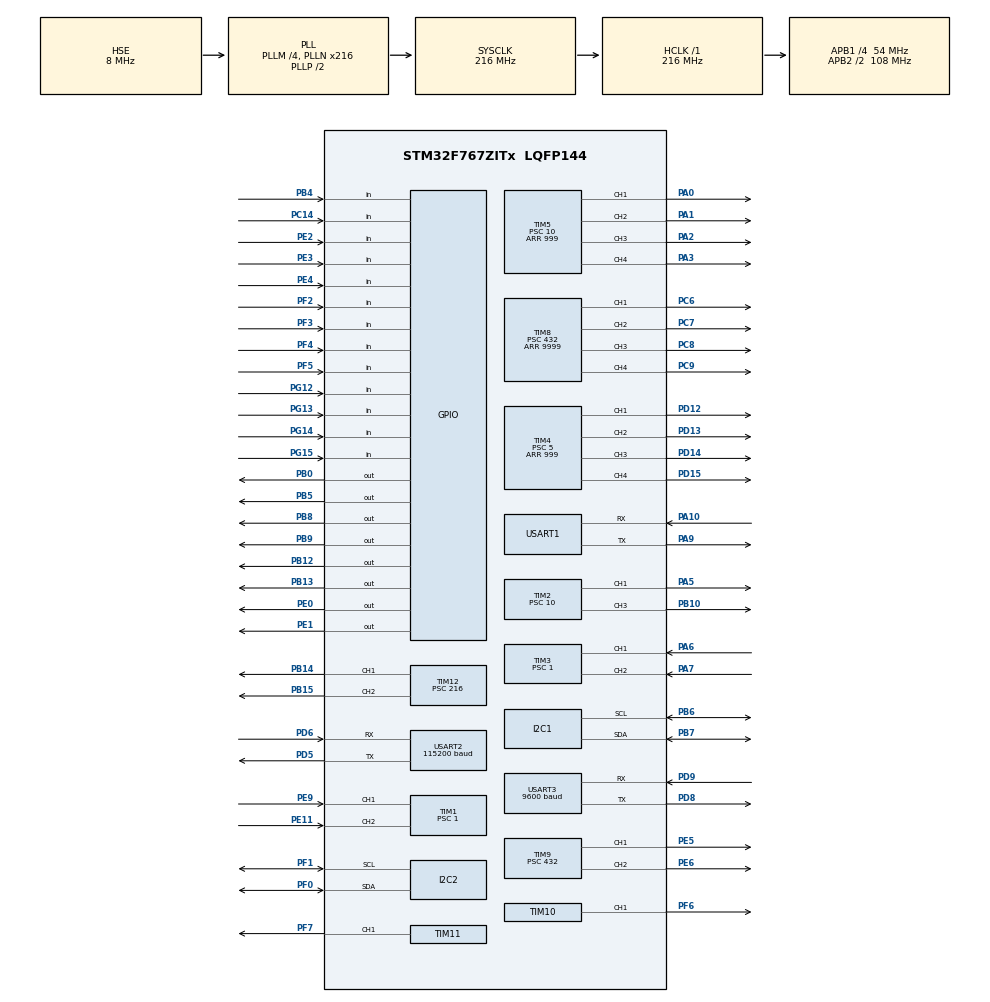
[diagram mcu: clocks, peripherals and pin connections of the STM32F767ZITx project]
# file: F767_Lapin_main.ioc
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CORTEX_M7.ART_ACCLERATOR_ENABLE=1
CORTEX_M7.CPU_DCache=Enabled
CORTEX_M7.CPU_ICache=Enabled
CORTEX_M7.FlashInterface=TCM_Enabled
CORTEX_M7.PREFETCH_ENABLE=1
Dma.Request0=USART1_RX
Dma.USART1_RX.0.Direction=DMA_PERIPH_TO_MEMORY
Dma.USART1_RX.0.FIFOMode=DMA_FIFOMODE_DISABLE
Dma.USART1_RX.0.Instance=DMA2_Stream2
Dma.USART1_RX.0.MemDataAlignment=DMA_MDATAALIGN_BYTE
Dma.USART1_RX.0.MemInc=DMA_MINC_ENABLE
Dma.USART1_RX.0.Mode=DMA_CIRCULAR
Dma.USART1_RX.0.PeriphDataAlignment=DMA_PDATAALIGN_BYTE
Dma.USART1_RX.0.PeriphInc=DMA_PINC_DISABLE
Dma.USART1_RX.0.Priority=DMA_PRIORITY_MEDIUM
I2C1.I2C_Fall_Time=300
I2C1.I2C_Rise_Time=1000
I2C1.Timing=0x40D32A31
I2C2.I2C_Fall_Time=300
I2C2.I2C_Rise_Time=1000
I2C2.Timing=0x40D32A31
IWDG.Prescaler=IWDG_PRESCALER_64
Mcu.Family=STM32F7
Mcu.Name=STM32F767ZITx
Mcu.Package=LQFP144
NVIC.DMA2_Stream2_IRQn=true\:1\:0\:true\:false\:true\:true
NVIC.PriorityGroup=NVIC_PRIORITYGROUP_4
NVIC.TIM6_DAC_IRQn=true\:2\:0\:true\:false\:true\:true
NVIC.USART1_IRQn=true\:3\:0\:true\:false\:true\:true
PA0/WKUP.Signal=S_TIM5_CH1
PA1.Signal=S_TIM5_CH2
PA10.Mode=Asynchronous
PA10.Signal=USART1_RX
PA13.Mode=Serial_Wire
PA13.Signal=SYS_JTMS-SWDIO
PA14.Mode=Serial_Wire
PA14.Signal=SYS_JTCK-SWCLK
PA2.Signal=S_TIM5_CH3
PA3.Signal=S_TIM5_CH4
PA5.Signal=S_TIM2_CH1_ETR
PA6.Signal=S_TIM3_CH1
PA7.Signal=S_TIM3_CH2
PA9.Mode=Asynchronous
PA9.Signal=USART1_TX
PB0.Signal=GPIO_Output
PB10.Signal=S_TIM2_CH3
PB12.Signal=GPIO_Output
PB13.Signal=GPIO_Output
PB14.Signal=S_TIM12_CH1
PB15.Signal=S_TIM12_CH2
PB4.Signal=GPIO_Input
PB5.Signal=GPIO_Output
PB6.Mode=I2C
PB6.Signal=I2C1_SCL
PB7.Mode=I2C
PB7.Signal=I2C1_SDA
PB8.Signal=GPIO_Output
PB9.Signal=GPIO_Output
PC14/OSC32_IN.Signal=GPIO_Input
PC6.Signal=S_TIM8_CH1
PC7.Signal=S_TIM8_CH2
PC8.Signal=S_TIM8_CH3
PC9.Signal=S_TIM8_CH4
PD12.Signal=S_TIM4_CH1
PD13.Signal=S_TIM4_CH2
PD14.Signal=S_TIM4_CH3
PD15.Signal=S_TIM4_CH4
PD5.Mode=Asynchronous
PD5.Signal=USART2_TX
PD6.Mode=Asynchronous
PD6.Signal=USART2_RX
PD8.Mode=Asynchronous
PD8.Signal=USART3_TX
PD9.Mode=Asynchronous
PD9.Signal=USART3_RX
PE0.Signal=GPIO_Output
PE1.Signal=GPIO_Output
PE11.Signal=S_TIM1_CH2
PE2.Signal=GPIO_Input
PE3.Signal=GPIO_Input
PE4.Signal=GPIO_Input
PE5.Signal=S_TIM9_CH1
PE6.Signal=S_TIM9_CH2
PE9.Signal=S_TIM1_CH1
PF0.Mode=I2C
PF0.Signal=I2C2_SDA
PF1.Mode=I2C
PF1.Signal=I2C2_SCL
PF2.Signal=GPIO_Input
PF3.Signal=GPIO_Input
PF4.Signal=GPIO_Input
PF5.Signal=GPIO_Input
PF6.Signal=S_TIM10_CH1
PF7.Signal=S_TIM11_CH1
PG12.Signal=GPIO_Input
PG13.Signal=GPIO_Input
PG14.Signal=GPIO_Input
PG15.Signal=GPIO_Input
PH0/OSC_IN.Mode=HSE-External-Oscillator
PH0/OSC_IN.Signal=RCC_OSC_IN
PH1/OSC_OUT.Mode=HSE-External-Oscillator
PH1/OSC_OUT.Signal=RCC_OSC_OUT
ProjectManager.HeapSize=0x400
ProjectManager.StackSize=0x800
ProjectManager.TargetToolchain=TrueSTUDIO
RCC.AHBFreq_Value=216000000
RCC.APB1CLKDivider=RCC_HCLK_DIV4
RCC.APB1Freq_Value=54000000
RCC.APB1TimFreq_Value=108000000
RCC.APB2CLKDivider=RCC_HCLK_DIV2
RCC.APB2Freq_Value=108000000
RCC.APB2TimFreq_Value=216000000
RCC.CortexFreq_Value=216000000
RCC.HCLKFreq_Value=216000000
RCC.HSE_VALUE=8000000
RCC.HSI_VALUE=16000000
RCC.LSE_VALUE=32768
RCC.PLLM=4
RCC.PLLN=216
RCC.PLLSourceVirtual=RCC_PLLSOURCE_HSE
RCC.SYSCLKFreq_VALUE=216000000
RCC.SYSCLKSource=RCC_SYSCLKSOURCE_PLLCLK
RCC.USBFreq_Value=216000000
RCC.VCOOutputFreq_Value=432000000
SH.S_TIM10_CH1.0=TIM10_CH1,PWM Generation1 CH1
SH.S_TIM11_CH1.0=TIM11_CH1,PWM Generation1 CH1
SH.S_TIM12_CH1.0=TIM12_CH1,PWM Generation1 CH1
SH.S_TIM12_CH2.0=TIM12_CH2,PWM Generation2 CH2
SH.S_TIM1_CH1.0=TIM1_CH1,Encoder_Interface
SH.S_TIM1_CH2.0=TIM1_CH2,Encoder_Interface
SH.S_TIM2_CH1_ETR.0=TIM2_CH1,PWM Generation1 CH1
SH.S_TIM2_CH3.0=TIM2_CH3,PWM Generation3 CH3
SH.S_TIM3_CH1.0=TIM3_CH1,Encoder_Interface
SH.S_TIM3_CH2.0=TIM3_CH2,Encoder_Interface
SH.S_TIM4_CH1.0=TIM4_CH1,PWM Generation1 CH1
SH.S_TIM4_CH2.0=TIM4_CH2,PWM Generation2 CH2
SH.S_TIM4_CH3.0=TIM4_CH3,PWM Generation3 CH3
SH.S_TIM4_CH4.0=TIM4_CH4,PWM Generation4 CH4
SH.S_TIM5_CH1.0=TIM5_CH1,PWM Generation1 CH1
SH.S_TIM5_CH2.0=TIM5_CH2,PWM Generation2 CH2
SH.S_TIM5_CH3.0=TIM5_CH3,PWM Generation3 CH3
SH.S_TIM5_CH4.0=TIM5_CH4,PWM Generation4 CH4
SH.S_TIM8_CH1.0=TIM8_CH1,PWM Generation1 CH1
SH.S_TIM8_CH2.0=TIM8_CH2,PWM Generation2 CH2
SH.S_TIM8_CH3.0=TIM8_CH3,PWM Generation3 CH3
SH.S_TIM8_CH4.0=TIM8_CH4,PWM Generation4 CH4
SH.S_TIM9_CH1.0=TIM9_CH1,PWM Generation1 CH1
SH.S_TIM9_CH2.0=TIM9_CH2,PWM Generation2 CH2
TIM1.Period=60000
TIM1.Prescaler=1
TIM10.Channel=TIM_CHANNEL_1
TIM10.Period=9999
TIM10.Prescaler=432
TIM11.Channel=TIM_CHANNEL_1
TIM11.Period=9999
TIM11.Prescaler=432
TIM12.Channel-PWM\ Generation1\ CH1=TIM_CHANNEL_1
TIM12.Channel-PWM\ Generation2\ CH2=TIM_CHANNEL_2
TIM12.Period=9999
TIM12.Prescaler=216
TIM2.Channel-PWM\ Generation1\ CH1=TIM_CHANNEL_1
TIM2.Channel-PWM\ Generation3\ CH3=TIM_CHANNEL_3
TIM2.Period=999
TIM2.Prescaler=10
TIM3.IC1Filter=2
TIM3.IC1Polarity=TIM_ICPOLARITY_FALLING
TIM3.IC2Filter=2
TIM3.IC2Polarity=TIM_ICPOLARITY_FALLING
TIM3.Period=60000
TIM3.Prescaler=1
TIM4.Channel-PWM\ Generation1\ CH1=TIM_CHANNEL_1
TIM4.Channel-PWM\ Generation2\ CH2=TIM_CHANNEL_2
TIM4.Channel-PWM\ Generation3\ CH3=TIM_CHANNEL_3
TIM4.Channel-PWM\ Generation4\ CH4=TIM_CHANNEL_4
TIM4.Period=999
TIM4.Prescaler=5
TIM5.Channel-PWM\ Generation1\ CH1=TIM_CHANNEL_1
TIM5.Channel-PWM\ Generation2\ CH2=TIM_CHANNEL_2
TIM5.Channel-PWM\ Generation3\ CH3=TIM_CHANNEL_3
TIM5.Channel-PWM\ Generation4\ CH4=TIM_CHANNEL_4
TIM5.Period=999
TIM5.Prescaler=10
TIM6.Period=50000-1
TIM6.Prescaler=864
TIM8.Channel-PWM\ Generation1\ CH1=TIM_CHANNEL_1
TIM8.Channel-PWM\ Generation2\ CH2=TIM_CHANNEL_2
TIM8.Channel-PWM\ Generation3\ CH3=TIM_CHANNEL_3
TIM8.Channel-PWM\ Generation4\ CH4=TIM_CHANNEL_4
TIM8.Period=9999
TIM8.Prescaler=432
TIM9.Channel-PWM\ Generation1\ CH1=TIM_CHANNEL_1
TIM9.Channel-PWM\ Generation2\ CH2=TIM_CHANNEL_2
TIM9.Period=9999
TIM9.Prescaler=432
USART1.VirtualMode-Asynchronous=VM_ASYNC
USART1.WordLength=WORDLENGTH_8B
USART2.BaudRate=115200
USART2.VirtualMode-Asynchronous=VM_ASYNC
USART2.WordLength=WORDLENGTH_8B
USART3.BaudRate=9600
USART3.VirtualMode-Asynchronous=VM_ASYNC
USART3.WordLength=WORDLENGTH_8B
VP_IWDG_VS_IWDG.Mode=IWDG_Activate
VP_TIM10_VS_ClockSourceINT.Mode=Enable_Timer
VP_TIM11_VS_ClockSourceINT.Mode=Enable_Timer
VP_TIM6_VS_ClockSourceINT.Mode=Enable_Timer
board=F767_Lapin_main

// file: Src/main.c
/**
  ******************************************************************************
  * @file           : main.c
  * @brief          : Main program body
  ******************************************************************************
  ** This notice applies to any and all portions of this file
  * that are not between comment pairs USER CODE BEGIN and
  * USER CODE END. Other portions of this file, whether
  * inserted by the user or by software development tools
  * are owned by their respective copyright owners.
  *
  * COPYRIGHT(c) 2018 STMicroelectronics
  *
  * Redistribution and use in source and binary forms, with or without modification,
  * are permitted provided that the following conditions are met:
  *   1. Redistributions of source code must retain the above copyright notice,
  *      this list of conditions and the following disclaimer.
  *   2. Redistributions in binary form must reproduce the above copyright notice,
  *      this list of conditions and the following disclaimer in the documentation
  *      and/or other materials provided with the distribution.
  *   3. Neither the name of STMicroelectronics nor the names of its contributors
  *      may be used to endorse or promote products derived from this software
  *      without specific prior written permission.
  *
  * THIS SOFTWARE IS PROVIDED BY THE COPYRIGHT HOLDERS AND CONTRIBUTORS "AS IS"
  * AND ANY EXPRESS OR IMPLIED WARRANTIES, INCLUDING, BUT NOT LIMITED TO, THE
  * IMPLIED WARRANTIES OF MERCHANTABILITY AND FITNESS FOR A PARTICULAR PURPOSE ARE
  * DISCLAIMED. IN NO EVENT SHALL THE COPYRIGHT HOLDER OR CONTRIBUTORS BE LIABLE
  * FOR ANY DIRECT, INDIRECT, INCIDENTAL, SPECIAL, EXEMPLARY, OR CONSEQUENTIAL
  * DAMAGES (INCLUDING, BUT NOT LIMITED TO, PROCUREMENT OF SUBSTITUTE GOODS OR
  * SERVICES; LOSS OF USE, DATA, OR PROFITS; OR BUSINESS INTERRUPTION) HOWEVER
  * CAUSED AND ON ANY THEORY OF LIABILITY, WHETHER IN CONTRACT, STRICT LIABILITY,
  * OR TORT (INCLUDING NEGLIGENCE OR OTHERWISE) ARISING IN ANY WAY OUT OF THE USE
  * OF THIS SOFTWARE, EVEN IF ADVISED OF THE POSSIBILITY OF SUCH DAMAGE.
  *
  ******************************************************************************
  */
#include "main.h"
#include "stm32f7xx_hal.h"
#include "dma.h"
#include "i2c.h"
#include "iwdg.h"
#include "tim.h"
#include "usart.h"
#include "gpio.h"

/* USER CODE BEGIN Includes */
#include "management.h"
/* USER CODE END Includes */

/* USER CODE BEGIN PV */
/* Private variables ---------------------------------------------------------*/
#ifdef __GNUC__
#define PUTCHAR_PROTOTYPE int __io_putchar(int ch)
#else
#define PUTCHAR_PROTOTYPE int fputc(int ch, FILE *f)
#endif /* __GNUC__ */
/* USER CODE END PV */

void SystemClock_Config(void);

/* USER CODE BEGIN PFP */
/* Private function prototypes -----------------------------------------------*/
long map(long x, long in_min, long in_max, long out_min, long out_max) ;
void main_run();
void sens_test();
void comu_test();
void test_mode();
void demo_mode();
void calib_mode();
/* USER CODE END PFP */

/* USER CODE BEGIN 0 */
#define Servonumber 4
#define debug 1
uint8_t Flug_Rxdata=0;
uint8_t Rxbuf[Servonumber+11];
uint8_t TPIPConnect=0,Rxdetatemp=0;
uint8_t data[Servonumber+11-1],tempdata[Servonumber+11-1];
uint8_t SW[5];
uint8_t mode;
uint8_t motor[5];
int16_t servodata[Servonumber]={180,67,90,180};
int16_t servotemp[Servonumber]={180,67,90,180};
uint32_t uwDirectionCount1 = 0;
uint32_t uwDirectionCount2 = 0;

void HAL_TIM_PeriodElapsedCallback(TIM_HandleTypeDef *htim)
{
	 if(Rxdetatemp!=data[Servonumber+9] || HAL_GPIO_ReadPin(GPIOB,GPIO_PIN_4)==0){
		 TPIPConnect=1;
		 HAL_GPIO_WritePin(GPIOE,GPIO_PIN_0,1);
	 }
	 else{
		 TPIPConnect=0;
		 HAL_GPIO_TogglePin(GPIOE,GPIO_PIN_0);
	 }
	 Rxdetatemp=data[Servonumber+9];
}

/* USER CODE END 0 */

int main(void)
{

  /* Enable I-Cache-------------------------------------------------------------*/
  SCB_EnableICache();

  /* Enable D-Cache-------------------------------------------------------------*/
  SCB_EnableDCache();

  /* MCU Configuration----------------------------------------------------------*/

  /* Reset of all peripherals, Initializes the Flash interface and the Systick. */
  HAL_Init();

  /* Configure the system clock */
  SystemClock_Config();

  /* Initialize all configured peripherals */
  MX_GPIO_Init();
  MX_DMA_Init();
  MX_TIM3_Init();
  MX_TIM2_Init();
  MX_TIM8_Init();
  MX_TIM9_Init();
  MX_TIM10_Init();
  MX_TIM11_Init();
  MX_TIM12_Init();
  MX_USART1_UART_Init();
  MX_USART2_UART_Init();
  MX_I2C1_Init();
  MX_I2C2_Init();
  MX_TIM6_Init();
  MX_TIM1_Init();
  MX_TIM4_Init();
  MX_TIM5_Init();
  //MX_IWDG_Init();
  MX_USART3_UART_Init();
  /* USER CODE BEGIN 2 */
  xprintf_init(&huart2);
  xdev_out(uart_putc);
  oled_i2c_to_oled(&hi2c1);
  oled_returnhome();
  if(HAL_GPIO_ReadPin(GPIOB,GPIO_PIN_4)==1){
    	 MX_IWDG_Init();
  }
  else{
	  oled_puts("Debug mode");
	  oled_setcursor(1,0);
	  oled_puts("No init of iwdg");
	  beep(10,30,30);
	  HAL_Delay(200);
  }

  oled_clear();
  servo(180,67,90,180,180,90,90,90,90,90);
  motor_move(0,0,0,0);
  HAL_GPIO_WritePin(GPIOB,GPIO_PIN_13,1);
  JY901_init(&hi2c1);
  DFPlayer_init(&huart3);
  oled_returnhome();
  oled_puts("Is The Order a");
  oled_setcursor(1,2);
  oled_puts("Rescue Robot?");
  HAL_Delay(700);
  DFPlayer_setvolume(0x25);
  HAL_Delay(100);
  DFPlayer_playmp3(1);
  HAL_Delay(300);
  HAL_IWDG_Refresh(&hiwdg);
  HAL_Delay(1000);
  HAL_IWDG_Refresh(&hiwdg);
  HAL_Delay(600);
  HAL_IWDG_Refresh(&hiwdg);
  oled_clear();
  HAL_IWDG_Refresh(&hiwdg);
  HAL_TIM_Base_Start_IT(&htim6);
  if (HAL_UART_Receive_DMA(&huart1, (uint8_t *)Rxbuf,(Servonumber + 11)) != HAL_OK)
  {
	  Error_Handler();
  }
  if(HAL_TIM_Encoder_Init(&htim1, &sConfig) != HAL_OK)
  {
	  Error_Handler();
  }
  HAL_TIM_Encoder_Start(&htim1, TIM_CHANNEL_ALL);
  TIM1->CNT=30000;
  Expand_flug=0;
  /* USER CODE END 2 */

  /* Infinite loop */
  while (1)
  {

  /* USER CODE BEGIN 3 */
	  mofu:
	  mode=HAL_GPIO_ReadPin(GPIOG,GPIO_PIN_12)*4+(HAL_GPIO_ReadPin(GPIOG,GPIO_PIN_13)*2)
			  +(HAL_GPIO_ReadPin(GPIOG,GPIO_PIN_14));
	  switch(mode){
	  case 1:
		  if(HAL_GPIO_ReadPin(GPIOG,GPIO_PIN_15)==1){
			  oled_clear();
			  HOUI_def=JY901_def_set();
			  TIM1->CNT=30000;
			    uint32_t timeout=0;
			    while(encordermotor1(0) && timeout<10000000){
			    	timeout++;
			    	delayUs(1);
			    	HAL_IWDG_Refresh(&hiwdg);
			    }
			    sConfigOC.Pulse = 0;
			    HAL_TIM_PWM_ConfigChannel(&htim2, &sConfigOC, TIM_CHANNEL_1);
			    HAL_TIM_PWM_Start(&htim2, TIM_CHANNEL_1);
			    sConfigOC.Pulse = 0;
			    HAL_TIM_PWM_ConfigChannel(&htim2, &sConfigOC, TIM_CHANNEL_3);
			    HAL_TIM_PWM_Start(&htim2, TIM_CHANNEL_3) ;
			    timeout=0;
			  while(TPIPConnect==0){
			  	motor_move(0,0,0,0);
			  	oled_returnhome();
			  	oled_puts("main_run select ");
			  	oled_setcursor(1,0);
			  	oled_puts("waiting for TPIP");
			    /*xprintf(" S1=%d",HAL_GPIO_ReadPin(GPIOD,GPIO_PIN_3));
			    xprintf(" S2=%d",HAL_GPIO_ReadPin(GPIOD,GPIO_PIN_1));
			    xprintf(" S3=%d",HAL_GPIO_ReadPin(GPIOC,GPIO_PIN_12));
			    xprintf(" S4=%d",HAL_GPIO_ReadPin(GPIOC,GPIO_PIN_10));*/
				xprintf(" 0=%d",Rxbuf[0]);
				xprintf(" 1=%d",Rxbuf[1]);
				xprintf(" 2=%d",Rxbuf[2]);
				xprintf(" 3=%d",Rxbuf[3]);
				xprintf(" 4=%d",Rxbuf[4]);
				xprintf(" 5=%d",Rxbuf[5]);
				xprintf(" 6=%d",Rxbuf[6]);
				xprintf(" 7=%d",Rxbuf[7]);
				xprintf(" 8=%d",Rxbuf[8]);
				xprintf(" 9=%d",Rxbuf[9]);
				xprintf(" 10=%d",Rxbuf[10]);
				xprintf(" 11=%d",Rxbuf[11]);
				xprintf(" 12=%d\r\n",Rxbuf[12]);
			  	if(HAL_GPIO_ReadPin(GPIOG,GPIO_PIN_15)==0){goto mofu;}
			  	HAL_GPIO_WritePin(GPIOB,GPIO_PIN_13,1);
			    HAL_IWDG_Refresh(&hiwdg);
			    HAL_GPIO_TogglePin(GPIOB,GPIO_PIN_0);
			  	}
			    DFPlayer_playmp3(9);
			  	beep(3,50,50);
			  	 oled_clear();
			  	while(HAL_GPIO_ReadPin(GPIOG,GPIO_PIN_15)==1){
			  		if(TPIPConnect==1){
			  		HAL_GPIO_WritePin(GPIOB,GPIO_PIN_13,1);
			  		main_run();
			  		if(data[Servonumber+11-2]%11==0){
			  		HAL_GPIO_WritePin(GPIOB,GPIO_PIN_8,1);
			  		}
			  		if(data[Servonumber+11-2]%11==5){
			  		HAL_GPIO_WritePin(GPIOB,GPIO_PIN_8,0);
			  		}
			  	  }
			  	  else{
			  			HAL_GPIO_WritePin(GPIOB,GPIO_PIN_13,0);
			  			motor_move(0,0,0,0);
			  			servo(servotemp[0],servotemp[1],servotemp[2],servotemp[3],servotemp[3],
			  				90,90,90,90,90);
			  			sConfigOC.Pulse = 0;
			  			HAL_TIM_PWM_ConfigChannel(&htim2, &sConfigOC, TIM_CHANNEL_1);
			  			HAL_TIM_PWM_Start(&htim2, TIM_CHANNEL_1);
			  			sConfigOC.Pulse = 0;
			  			HAL_TIM_PWM_ConfigChannel(&htim2, &sConfigOC, TIM_CHANNEL_3);
			  			HAL_TIM_PWM_Start(&htim2, TIM_CHANNEL_3) ;
			  			oled_returnhome();
			  			oled_puts("main_run select");
			  			oled_setcursor(1,0);
			  			oled_puts("lost connection!");
			  			for(int i=0;i<13;i++){
			  				xprintf(" %d)%d",i,Rxbuf[i]);
			  			}
			  			/*
			  			for(int i=0;i<(Servonumber+11);i++){
			  				xprintf(" %d)%d",i,data[i]);
			  			}*/
			  			xprintf("\r\n");
					    DFPlayer_playmp3(12);
	  			  		beep(1,300,300);
		  			    HAL_IWDG_Refresh(&hiwdg);
	  			  		beep(1,300,300);
		  			    HAL_IWDG_Refresh(&hiwdg);
			  	  }
			  	  HAL_IWDG_Refresh(&hiwdg);
			  }
			  	sConfigOC.Pulse = 0;
			  	HAL_TIM_PWM_ConfigChannel(&htim2, &sConfigOC, TIM_CHANNEL_1);
			  	HAL_TIM_PWM_Start(&htim2, TIM_CHANNEL_1);
			  	sConfigOC.Pulse = 0;
			  	HAL_TIM_PWM_ConfigChannel(&htim2, &sConfigOC, TIM_CHANNEL_3);
			  	HAL_TIM_PWM_Start(&htim2, TIM_CHANNEL_3) ;
		  		HAL_GPIO_WritePin(GPIOB,GPIO_PIN_8,0);
	  			motor_move(0,0,0,0);
	  			servo(servotemp[0],servotemp[1],servotemp[2],servotemp[3],servotemp[3],
	  				90,90,90,90,90);
		  }
		  else{
			  oled_returnhome();
			  oled_puts("main_run select");
			  oled_setcursor(1,0);
			  oled_puts("OK?     waiting ");
			  HAL_Delay(5);
			  HAL_IWDG_Refresh(&hiwdg);
		  }
	  break;

	  case 2:
			if(HAL_GPIO_ReadPin(GPIOG,GPIO_PIN_15)==1){
				oled_clear();
				HOUI_def=JY901_def_set();
			    TIM1->CNT=30000;
		  		HAL_GPIO_WritePin(GPIOB,GPIO_PIN_13,0);
				motor_move(0,0,0,0);
				  servo(180,67,90,180,180,90,90,90,90,90);
				while(HAL_GPIO_ReadPin(GPIOG,GPIO_PIN_15)==1){
				oled_returnhome();
				oled_puts("Comu test select");
				oled_setcursor(1,0);
				oled_puts("running         ");

				for(int counttime1=0;counttime1<(Servonumber+11-1);counttime1++){
					xprintf(" data%d)%d",counttime1,data[counttime1]);
				}
				xprintf("\r\n");
				HAL_IWDG_Refresh(&hiwdg);
				HAL_GPIO_TogglePin(GPIOB,GPIO_PIN_0);
				}
			}
			else{
				oled_returnhome();
				oled_puts("Comu test select");
				oled_setcursor(1,0);
				oled_puts("OK?     waiting ");
				HAL_IWDG_Refresh(&hiwdg);
				HAL_Delay(5);
			}
	  break;

	  case 3:
		  if(HAL_GPIO_ReadPin(GPIOG,GPIO_PIN_15)==1){
			  oled_clear();
			  HOUI_def=JY901_def_set();
			    TIM1->CNT=30000;
			    HAL_GPIO_WritePin(GPIOB,GPIO_PIN_13,0);
			  	while(HAL_GPIO_ReadPin(GPIOG,GPIO_PIN_15)==1){
			  	oled_returnhome();
			  	oled_puts("sens_test select");
			  	oled_setcursor(1,0);
			  	oled_puts("Running          ");
				sens_test();
				  HAL_IWDG_Refresh(&hiwdg);
				 HAL_GPIO_TogglePin(GPIOB,GPIO_PIN_0);
				 HAL_GPIO_WritePin(GPIOB,GPIO_PIN_13,0);
			  }
				motor_move(0,0,0,0);
				  servo(180,67,90,180,180,90,90,90,90,90);
		  }
		  else{
				oled_returnhome();
				oled_puts("sens_test select");
				oled_setcursor(1,0);
				oled_puts("OK?     waiting ");
				  HAL_IWDG_Refresh(&hiwdg);
				HAL_Delay(5);
		  }
	  break;

	  case 4:
		  if(HAL_GPIO_ReadPin(GPIOG,GPIO_PIN_15)==1){
			  oled_clear();
			  HOUI_def=JY901_def_set();
			    TIM1->CNT=30000;
			    while(HAL_GPIO_ReadPin(GPIOG,GPIO_PIN_15)==1){
			    	HAL_GPIO_WritePin(GPIOB,GPIO_PIN_13,1);
			    	oled_returnhome();
			    	oled_puts("test mode select");
			    	oled_setcursor(1,0);
			    	oled_puts("Ruuning         ");
					HAL_IWDG_Refresh(&hiwdg);
					test_mode();
					motor_move(0,0,0,0);
					  servo(180,67,90,180,180,90,90,90,90,90);
					HAL_GPIO_TogglePin(GPIOB,GPIO_PIN_0);
			     }
				motor_move(0,0,0,0);
				  servo(180,67,90,180,180,90,90,90,90,90);
		  }
		  else{
			oled_returnhome();
			oled_puts("test mode select");
			oled_setcursor(1,0);
			oled_puts("OK?     waiting ");
			  HAL_IWDG_Refresh(&hiwdg);
			HAL_Delay(5);
		  }
	  break;

	  case 5:
		  if(HAL_GPIO_ReadPin(GPIOG,GPIO_PIN_15)==1){
			  oled_clear();
			  HOUI_def=JY901_def_set();
			    TIM1->CNT=30000;
				HAL_GPIO_WritePin(GPIOB,GPIO_PIN_13,1);
				while(HAL_GPIO_ReadPin(GPIOG,GPIO_PIN_15)==1){
				oled_returnhome();
				oled_puts("demo mode select");
				oled_setcursor(1,0);
				oled_puts("Runnning         ");
				HAL_IWDG_Refresh(&hiwdg);
				demo_mode();
				HAL_GPIO_TogglePin(GPIOB,GPIO_PIN_0);
			}
				motor_move(0,0,0,0);
				  servo(180,67,90,180,180,90,90,90,90,90);
		  }
		  else{
				oled_returnhome();
				oled_puts("demo mode select");
				oled_setcursor(1,0);
				oled_puts("OK?     waiting ");
				HAL_IWDG_Refresh(&hiwdg);
				HAL_Delay(5);
		  }
	  break;

	  case 6:
			oled_returnhome();
			oled_puts("Calib select");
			oled_setcursor(1,0);
		  if(HAL_GPIO_ReadPin(GPIOG,GPIO_PIN_15)==1){
			  calib_mode();
			  HAL_IWDG_Refresh(&hiwdg);
		  }
		  else{
				oled_puts("OK?     waiting ");
				HAL_Delay(5);
		  }
			motor_move(0,0,0,0);
			  servo(180,67,90,180,180,90,90,90,90,90);
	  break;

	  default:
			oled_returnhome();
			oled_puts("select mode     ");
			oled_setcursor(1,0);
			oled_puts("           SURF ");
			motor_move(0,0,0,0);
			  servo(180,67,90,180,180,90,90,90,90,90);
			HAL_IWDG_Refresh(&hiwdg);
		   HAL_Delay(5);
	  break;
	  }
	  HAL_GPIO_TogglePin(GPIOB,GPIO_PIN_0);
	  HAL_IWDG_Refresh(&hiwdg);
  }
  /* USER CODE END 3 */

}

void SystemClock_Config(void)
{

  RCC_OscInitTypeDef RCC_OscInitStruct;
  RCC_ClkInitTypeDef RCC_ClkInitStruct;
  RCC_PeriphCLKInitTypeDef PeriphClkInitStruct;

    /**Configure the main internal regulator output voltage
    */
  __HAL_RCC_PWR_CLK_ENABLE();

  __HAL_PWR_VOLTAGESCALING_CONFIG(PWR_REGULATOR_VOLTAGE_SCALE1);

    /**Initializes the CPU, AHB and APB busses clocks
    */
  RCC_OscInitStruct.OscillatorType = RCC_OSCILLATORTYPE_LSI|RCC_OSCILLATORTYPE_HSE;
  RCC_OscInitStruct.HSEState = RCC_HSE_ON;
  RCC_OscInitStruct.LSIState = RCC_LSI_ON;
  RCC_OscInitStruct.PLL.PLLState = RCC_PLL_ON;
  RCC_OscInitStruct.PLL.PLLSource = RCC_PLLSOURCE_HSE;
  RCC_OscInitStruct.PLL.PLLM = 4;
  RCC_OscInitStruct.PLL.PLLN = 216;
  RCC_OscInitStruct.PLL.PLLP = RCC_PLLP_DIV2;
  RCC_OscInitStruct.PLL.PLLQ = 2;
  if (HAL_RCC_OscConfig(&RCC_OscInitStruct) != HAL_OK)
  {
    _Error_Handler(__FILE__, __LINE__);
  }

    /**Activate the Over-Drive mode
    */
  if (HAL_PWREx_EnableOverDrive() != HAL_OK)
  {
    _Error_Handler(__FILE__, __LINE__);
  }

    /**Initializes the CPU, AHB and APB busses clocks
    */
  RCC_ClkInitStruct.ClockType = RCC_CLOCKTYPE_HCLK|RCC_CLOCKTYPE_SYSCLK
                              |RCC_CLOCKTYPE_PCLK1|RCC_CLOCKTYPE_PCLK2;
  RCC_ClkInitStruct.SYSCLKSource = RCC_SYSCLKSOURCE_PLLCLK;
  RCC_ClkInitStruct.AHBCLKDivider = RCC_SYSCLK_DIV1;
  RCC_ClkInitStruct.APB1CLKDivider = RCC_HCLK_DIV4;
  RCC_ClkInitStruct.APB2CLKDivider = RCC_HCLK_DIV2;

  if (HAL_RCC_ClockConfig(&RCC_ClkInitStruct, FLASH_LATENCY_7) != HAL_OK)
  {
    _Error_Handler(__FILE__, __LINE__);
  }

  PeriphClkInitStruct.PeriphClockSelection = RCC_PERIPHCLK_USART1|RCC_PERIPHCLK_USART2
                              |RCC_PERIPHCLK_USART3|RCC_PERIPHCLK_I2C1
                              |RCC_PERIPHCLK_I2C2;
  PeriphClkInitStruct.Usart1ClockSelection = RCC_USART1CLKSOURCE_PCLK2;
  PeriphClkInitStruct.Usart2ClockSelection = RCC_USART2CLKSOURCE_PCLK1;
  PeriphClkInitStruct.Usart3ClockSelection = RCC_USART3CLKSOURCE_PCLK1;
  PeriphClkInitStruct.I2c1ClockSelection = RCC_I2C1CLKSOURCE_PCLK1;
  PeriphClkInitStruct.I2c2ClockSelection = RCC_I2C2CLKSOURCE_PCLK1;
  if (HAL_RCCEx_PeriphCLKConfig(&PeriphClkInitStruct) != HAL_OK)
  {
    _Error_Handler(__FILE__, __LINE__);
  }

    /**Configure the Systick interrupt time
    */
  HAL_SYSTICK_Config(HAL_RCC_GetHCLKFreq()/1000);

    /**Configure the Systick
    */
  HAL_SYSTICK_CLKSourceConfig(SYSTICK_CLKSOURCE_HCLK);

  /* SysTick_IRQn interrupt configuration */
  HAL_NVIC_SetPriority(SysTick_IRQn, 0, 0);
}

/* USER CODE BEGIN 4 */
void main_run(){
			  motor_move(data[0],data[1],data[2],data[3]);
			  servo(servodata[0],servodata[1],90,servodata[3],servodata[3],servodata[2],servodata[3],90,90,90);
			  encordermotor1(data[8]);
			  slider(data[4],data[5],data[6],data[7]);
			  //LCD表示
			  if(Flug_Rxdata==1){
			  oled_returnhome();
			  oled_puts("connection      ");
			  oled_setcursor(1,0);
			switch(data[0]){
			case 10:
				switch (data[2]) {
					case 100:oled_puts("mR = 0  mL = +  ");break;
					case 200:oled_puts("mR = 0  mL = -  ");break;
					case 150:oled_puts("mR = 0  mL = +  ");break;
					case 250:oled_puts("mR = 0  mL = -  ");	break;
					case 10: oled_puts ("mR = 0  mL = 0  ");	break;
				}
			break;

			case 100:
				switch(data[2]){
					case 100:oled_puts("mR = +  mL = +  ");break;
					case 200:oled_puts("mR = +  mL = -  ");break;
					case 150:oled_puts("mR = +  mL = +  ");break;
					case 250:oled_puts("mR = +  mL = -  ");break;
					case 10: oled_puts("mR = +  mL = 0  ");break;
				}
			break;

			case 200:
				switch(data[2]){
					case 100:oled_puts("mR = -  mL = +  ");break;
					case 200:oled_puts("mR = -  mL = -  ");	break;
					case 150:oled_puts("mR = -  mL = +  ");break;
					case 250:oled_puts("mR = -  mL = -  ");	break;
					case 10: oled_puts("mR = -  mL = 0  ");break;
				}
			break;

			case 150:
				switch(data[2]){
					case 100:oled_puts("mR = +  mL = +  ");break;
					case 200:oled_puts("mR = +  mL = -  ");break;
					case 150:oled_puts("mR = +  mL = +  ");break;
					case 250:oled_puts("mR = +  mL = -  ");break;
					case 10:oled_puts("mR = +  mL = 0  ");break;
				}
			break;

			case 250:
				switch(data[2]){
					case 100:oled_puts("mR = -  mL = +  ");break;
					case 200:oled_puts("mR = -  mL = -  ");	break;
					case 150:oled_puts("mR = -  mL = +  ");break;
					case 250:oled_puts("mR = -  mL = -  ");	break;
					case 10:oled_puts("mR = -  mL = 0  ");break;
				}
				break;
			default:oled_puts("no data         ");break;
			}

			  //xprintf(" SW1=%d",HAL_GPIO_ReadPin(GPIOE,GPIO_PIN_2));
			  //xprintf(" SW2=%d",HAL_GPIO_ReadPin(GPIOE,GPIO_PIN_3));
			  /*xprintf(" D0=%d",data[0]);
			  xprintf(" D1=%d",data[1]);
			  xprintf(" D2=%d",data[2]);
			  xprintf(" D3=%d",data[3]);
			  xprintf(" D4=%d",data[4]);
			  xprintf(" D5=%d",data[5]);
			  xprintf(" D6=%d",data[6]);
			  xprintf(" D7=%d",data[7]);*/
			  xprintf(" D8=%d",data[8]);
			  xprintf(" D9=%d",data[9]);
			  xprintf(" D10=%d",data[10]);
			  xprintf(" D11=%d",data[11]);
			  xprintf(" D12=%d",data[12]);
			  xprintf(" H=%d",HOUI);
			  xprintf(" D13=%d\r\n",data[13]);
			Flug_Rxdata=0;
			}

}

void sens_test(){
	motor_move(0,0,0,0);
	  servo(180,67,90,180,180,90,90,90,90,90);
	HOUI=JY901_yaw_get(HOUI_def);
	uwDirectionCount1 = TIM1->CNT;
	xprintf(" E1=%d ",(int)uwDirectionCount1);
	xprintf(" SWE1=%d",HAL_GPIO_ReadPin(GPIOE,GPIO_PIN_2));
	xprintf(" SWE2=%d",HAL_GPIO_ReadPin(GPIOE,GPIO_PIN_3));
	xprintf(" SW1=%d",HAL_GPIO_ReadPin(GPIOF,GPIO_PIN_2));
	xprintf(" SW2=%d",HAL_GPIO_ReadPin(GPIOF,GPIO_PIN_3));
	xprintf(" SW3=%d",HAL_GPIO_ReadPin(GPIOF,GPIO_PIN_4));
	xprintf(" SW4=%d",HAL_GPIO_ReadPin(GPIOF,GPIO_PIN_5));
	xprintf(" HOUIdef=%d",HOUI_def);
	xprintf(" HOUI=%d\r\n",HOUI);
	HAL_Delay(5);
}

void comu_test(){
}

void test_mode(){
		motor_move(0,0,0,0);
		  servo(180,67,90,180,180,90,90,90,90,90);
		if(HAL_GPIO_ReadPin(GPIOB,GPIO_PIN_4)==0){
		while(encordermotor1(250)!=HAL_OK){
		xprintf("goto250 ");
		xprintf("encorder1=%d",TIM1->CNT);
		xprintf("\r\n");
		  HAL_IWDG_Refresh(&hiwdg);
		}
		HAL_Delay(1000);
		  HAL_IWDG_Refresh(&hiwdg);
		while(encordermotor1(0)!=HAL_OK){
			xprintf("=%d",func((int)10));
			xprintf("goto0 ");
			xprintf("encorder1=%d",TIM1->CNT);
			xprintf("\r\n");
			  HAL_IWDG_Refresh(&hiwdg);
		}
		}
		xprintf("waiting");
		xprintf(" encorder1=%d",TIM1->CNT);
		xprintf("\r\n");
}

void demo_mode(){

}

void calib_mode(){
	while(HAL_GPIO_ReadPin(GPIOG,GPIO_PIN_15)==1){
	oled_returnhome();
	oled_puts("Calib select    ");
	oled_setcursor(1,0);
	oled_puts("Running Press SW");
	HAL_Delay(5);
if(HAL_GPIO_ReadPin(GPIOB,GPIO_PIN_4)==0){	//press RS
	HAL_GPIO_WritePin(GPIOB,GPIO_PIN_8,1);
	DFPlayer_playmp3(8);
	  servo(180,67,90,180,180,90,90,90,90,90);
	motor_move(0,0,0,0);
	oled_clear();
	oled_returnhome();
	oled_puts("Angular velocity");
	oled_setcursor(1,0);
	oled_puts("    Calibration ");
	JY901_calibration(1600,1);
	oled_clear();
	oled_returnhome();
	oled_puts("Magnetic");
	oled_setcursor(1,0);
	oled_puts(" Calibration  RS");
	xprintf("houi cab\r\n");
	motor_move(100,100,200,100);
	JY901_calibration(10000,2);
	oled_clear();
	oled_returnhome();
	oled_puts("Calibration End ");
	motor_move(0,0,0,0);
	xprintf("cab end\r\n");
	JY901_calibration(100,3);
	xprintf("save\r\n");
	JY901_calibration(100,4);
	DFPlayer_stopmp3();
	HAL_GPIO_WritePin(GPIOB,GPIO_PIN_8,0);
	beep(2,150,70);
	}
	HAL_GPIO_TogglePin(GPIOB,GPIO_PIN_0);
	HAL_IWDG_Refresh(&hiwdg);
}
}

long map(long x, long in_min, long in_max, long out_min, long out_max) {
  return (x - in_min) * (out_max - out_min) / (in_max - in_min) + out_min;
}

void HAL_UART_RxCpltCallback(UART_HandleTypeDef *huart){
		int j = 0;
		while (Rxbuf[j] != 252 && j<(Servonumber + 11-1)) {
			j++;
		}
		if(j>=Servonumber+11-2){
			for (int k = 0; k < 8; k++) {
				data[k] = 0;
			}
			for(int k=8;k<(8+Servonumber);k++){
				data[k]=90;
			}
			data[13]=0;
		}
		else {
			for (int k = 0; k < (Servonumber + 11-1); k++) {
				if ((j + k) >= Servonumber + 11-1) {
					data[k] = Rxbuf[k - (Servonumber + 11-1  - j)];
				}
				else {
					data[k] = Rxbuf[j + k + 1];
				}
			}
			motor[0]=data[0];
			motor[1]=data[1];
			motor[2]=data[2];
			motor[3]=data[3];
			motor[4]=data[4];

			for(int i=0;i<Servonumber;i++){
			servodata[i]=data[i+9];
			}
			Flug_Rxdata=1;
			Txdata[0]=1+(!HAL_GPIO_ReadPin(GPIOF,GPIO_PIN_2))*2+!HAL_GPIO_ReadPin(GPIOF,GPIO_PIN_3)*4+
					!HAL_GPIO_ReadPin(GPIOF,GPIO_PIN_4)*8+!HAL_GPIO_ReadPin(GPIOF,GPIO_PIN_5)*16+Expand_flug*32;
			HAL_UART_Transmit(&huart1,(uint8_t*)Txdata,1,0xFF);
		}
		}
/* USER CODE END 4 */

void _Error_Handler(char *file, int line)
{
  /* USER CODE BEGIN Error_Handler_Debug */
  /* User can add his own implementation to report the HAL error return state */
  while(1)
  {
	  HAL_GPIO_WritePin(GPIOB,GPIO_PIN_5,1);
  }
  /* USER CODE END Error_Handler_Debug */
}

/************************ (C) COPYRIGHT STMicroelectronics *****END OF FILE****/
